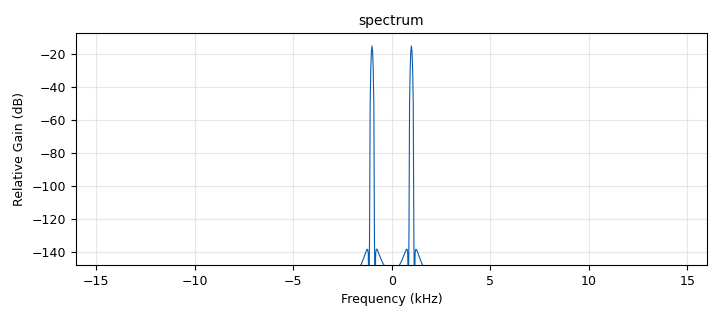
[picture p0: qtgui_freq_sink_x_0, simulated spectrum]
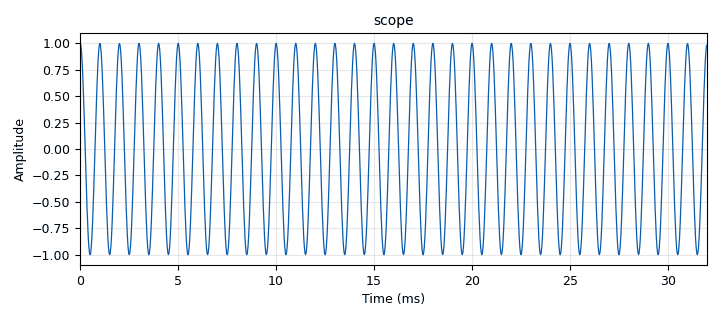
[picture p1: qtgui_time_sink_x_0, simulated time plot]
options:
  parameters:
    author: wcc
    copyright: mircophase
    description: gnu radio example
    generate_options: qt_gui
    id: lab1_tone
    output_language: python
    title: lab1_tone
  states: {}

blocks:
- name: samp_rate
  id: variable
  parameters:
    value: '32000'
  states: {}
- name: analog_sig_source_x_0
  id: analog_sig_source_x
  parameters:
    amp: '1'
    freq: '1000'
    offset: '0'
    phase: '0'
    samp_rate: samp_rate
    type: float
    waveform: analog.GR_COS_WAVE
  states: {}
- name: blocks_throttle_0
  id: blocks_throttle
  parameters:
    samples_per_second: samp_rate
    type: float
  states: {}
- name: qtgui_freq_sink_x_0
  id: qtgui_freq_sink_x
  parameters:
    autoscale: 'True'
    bw: samp_rate
    fc: '0'
    fftsize: '1024'
    name: '"spectrum"'
    type: float
    wintype: firdes.WIN_BLACKMAN_hARRIS
  states: {}
- name: qtgui_time_sink_x_0
  id: qtgui_time_sink_x
  parameters:
    autoscale: 'True'
    name: '"scope"'
    size: '1024'
    srate: samp_rate
    type: float
  states: {}

connections:
- [analog_sig_source_x_0, '0', blocks_throttle_0, '0']
- [blocks_throttle_0, '0', qtgui_freq_sink_x_0, '0']
- [blocks_throttle_0, '0', qtgui_time_sink_x_0, '0']

metadata:
  file_format: 1
